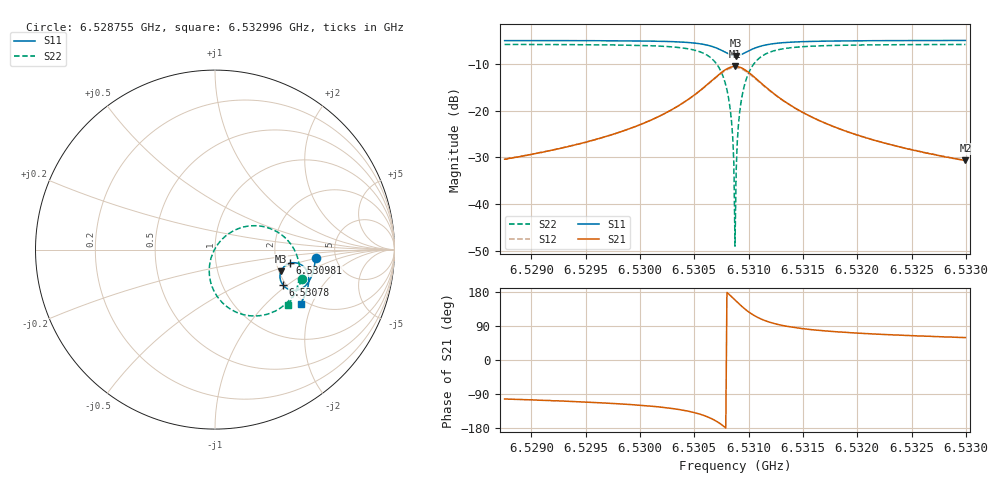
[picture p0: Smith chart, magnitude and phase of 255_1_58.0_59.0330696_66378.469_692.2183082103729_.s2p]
#  HZ  S  RI  R  50.00
! Rohde & Schwarz Vector Network Analyzer
! Rohde-Schwarz,ZNB20-2Port,1311601062101988,3.16
! Created: UTC 3/21/2024, 1:01:43 AM
! freq[Hz]  re:S11  im:S11  re:S21  im:S21  re:S12  im:S12  re:S22  im:S22
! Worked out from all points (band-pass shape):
!   401 points, 6.528755 GHz to 6.532996 GHz, reference 50 ohm
!   highest |S21| = -10.53 dB at 6.530875 GHz (marker M1); lowest = -30.6 dB at 6.532996 GHz (marker M2)
!   |S21| within 3 dB of the highest: 6.530664 GHz to 6.531088 GHz (424.2 kHz wide, 0.0065 % of centre)
!   lowest |S11| = -8.2 dB at 6.530886 GHz (marker M3), VSWR 2.26, Z = 103 - j29.1 ohm
!   |S11| at or under -10 dB: nowhere
!   |S22| runs from -49.0 to -5.8 dB; largest |S21 - S12| = 0.012
!   S11 on the Smith chart (normalised r, x): 6.528755 GHz: 3.50, -0.48; 6.53078 GHz: 1.92, -0.92; 6.530981 GHz: 2.38, -0.44; 6.532996 GHz: 1.88, -1.65
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6.5287547e9  0.5602 -0.047  -0.00683 -0.0295  -0.00725 -0.0294  0.4837 -0.1661
6.529465e9  0.5511 -0.1058  -0.0158 -0.042  -0.0168 -0.0416  0.453 -0.2302
6.5301754e9  0.5242 -0.1759  -0.0485 -0.0722  -0.0505 -0.0708  0.3729 -0.3195
6.5305994e9  0.4555 -0.2262  -0.1531 -0.0977  -0.1556 -0.0914  0.1719 -0.3653
6.5307055e9  0.4116 -0.2219  -0.2209 -0.0721  -0.2202 -0.063  0.0579 -0.3112
6.5307797e9  0.3773 -0.1958  -0.2708 -0.0153  -0.2653 -0.0056  -0.016 -0.2069
6.5308115e9  0.3669 -0.1765  -0.2839 0.0222  -0.2762 0.0307  -0.031 -0.1423
6.5308327e9  0.3629 -0.1611  -0.2871 0.0506  -0.2781 0.0578  -0.0312 -0.0952
6.5308433e9  0.362 -0.1531  -0.2868 0.0652  -0.2774 0.0716  -0.0279 -0.071
6.5308539e9  0.3622 -0.1448  -0.2851 0.0802  -0.275 0.0856  -0.0221 -0.0473
6.5308645e9  0.3631 -0.1365  -0.2816 0.0948  -0.2715 0.0994  -0.0137 -0.0237
6.5308751e9  0.3651 -0.1285  -0.2769 0.1092  -0.2663 0.113  -0.00335 -0.00118
6.5308857e9  0.3676 -0.1207  -0.2706 0.1231  -0.2602 0.1258  0.00936 0.0202
6.5308963e9  0.3713 -0.1131  -0.2633 0.1363  -0.2527 0.1381  0.024 0.0404
6.5309069e9  0.3756 -0.1062  -0.2543 0.1485  -0.2442 0.1493  0.0405 0.0587
6.5309281e9  0.3861 -0.0939  -0.234 0.1697  -0.2247 0.1689  0.0774 0.0894
6.5309811e9  0.418 -0.0758  -0.1756 0.2009  -0.1689 0.1981  0.1792 0.13
6.5310553e9  0.4599 -0.0756  -0.1026 0.203  -0.099 0.2001  0.3017 0.1193
6.5311614e9  0.4963 -0.0973  -0.0397 0.1732  -0.0377 0.1715  0.4031 0.0535
6.5315854e9  0.5224 -0.1761  0.015 0.0837  0.0161 0.0834  0.4718 -0.1338
6.5322958e9  0.5039 -0.2481  0.0172 0.0401  0.018 0.0399  0.4427 -0.2484
6.5329955e9  0.4776 -0.3003  0.0151 0.0252  0.0156 0.0249  0.4072 -0.3084
